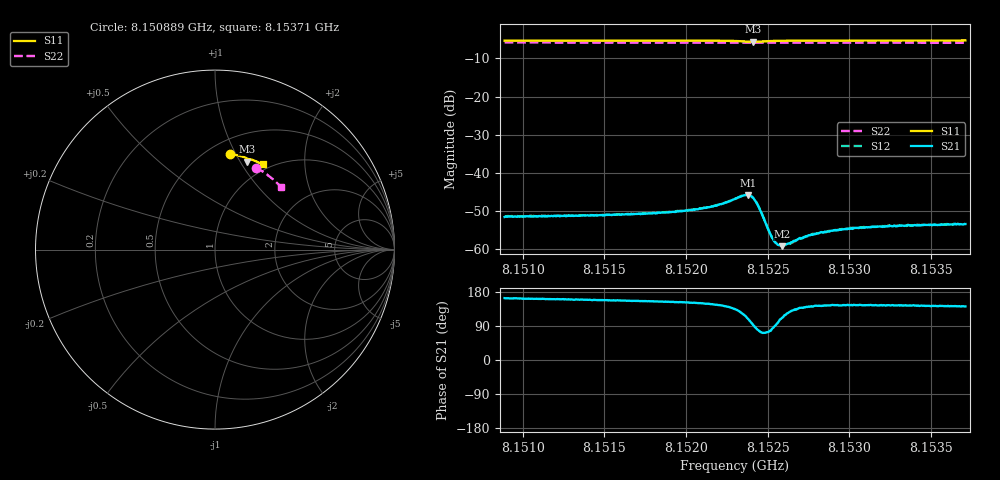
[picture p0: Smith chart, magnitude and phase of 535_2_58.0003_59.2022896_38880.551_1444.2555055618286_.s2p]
#  HZ  S  RI  R  50.00
! Rohde & Schwarz Vector Network Analyzer
! Rohde-Schwarz,ZNB20-2Port,1311601062101988,3.16
! Created: UTC 3/21/2024, 1:14:15 AM
! freq[Hz]  re:S11  im:S11  re:S21  im:S21  re:S12  im:S12  re:S22  im:S22
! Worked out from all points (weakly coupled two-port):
!   401 points, 8.150889 GHz to 8.15371 GHz, reference 50 ohm
!   highest |S21| = -45.76 dB at 8.152377 GHz (marker M1); lowest = -59.2 dB at 8.152588 GHz (marker M2)
!   lowest |S11| = -5.6 dB at 8.152412 GHz (marker M3), VSWR 3.19, Z = 39.7 + j53.6 ohm
!   |S11| at or under -10 dB: nowhere
!   |S22| runs from -5.9 to -5.8 dB; largest |S21 - S12| = 0.00011
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8.1508886e9  0.0834 0.5328  -0.00255 0.000768  -0.00258 0.000824  0.2281 0.4568
8.1513612e9  0.1162 0.5273  -0.0026 0.00098  -0.0026 0.00103  0.2543 0.4419
8.1518337e9  0.149 0.5195  -0.00273 0.00133  -0.00272 0.00139  0.2797 0.4256
8.1519818e9  0.1597 0.5164  -0.00282 0.00149  -0.00283 0.00152  0.2876 0.42
8.152137e9  0.1714 0.512  -0.00303 0.00187  -0.00302 0.00194  0.2956 0.4142
8.1522216e9  0.1782 0.5083  -0.00319 0.00235  -0.00318 0.00242  0.2997 0.4108
8.1522992e9  0.1843 0.5024  -0.0032 0.00327  -0.0032 0.00331  0.3037 0.4075
8.1523486e9  0.186 0.4961  -0.00262 0.00431  -0.00259 0.00438  0.306 0.4055
8.1523768e9  0.1842 0.4921  -0.00176 0.00484  -0.00169 0.00489  0.3074 0.4044
8.1524121e9  0.1786 0.4907  -0.000145 0.00466  -7.57e-05 0.00468  0.3088 0.4031
8.1524473e9  0.1752 0.495  0.000823 0.00338  0.00085 0.00341  0.3104 0.4019
8.1525108e9  0.1797 0.5024  0.000385 0.00163  0.000427 0.00161  0.3136 0.3998
8.152532e9  0.1819 0.5034  0.000132 0.00137  0.000123 0.00136  0.3149 0.3988
8.1525602e9  0.185 0.5041  -0.000153 0.00114  -0.000142 0.00116  0.3164 0.3977
8.1525884e9  0.188 0.5042  -0.000403 0.00103  -0.000412 0.00108  0.3177 0.3966
8.1526377e9  0.1927 0.5039  -0.000745 0.000958  -0.000729 0.000934  0.3201 0.3944
8.1526942e9  0.1976 0.5029  -0.00104 0.000953  -0.000998 0.000962  0.3229 0.3921
8.1527718e9  0.2036 0.5012  -0.0012 0.000984  -0.00125 0.000978  0.3265 0.3891
8.1528987e9  0.2129 0.4981  -0.00144 0.000999  -0.00145 0.00104  0.3328 0.3835
8.1530186e9  0.2212 0.495  -0.00151 0.00108  -0.00156 0.00112  0.3384 0.3785
8.1532443e9  0.236 0.4886  -0.00164 0.00117  -0.00166 0.00124  0.3487 0.3686
8.1537098e9  0.2654 0.4742  -0.00168 0.00134  -0.00167 0.00139  0.369 0.3472
